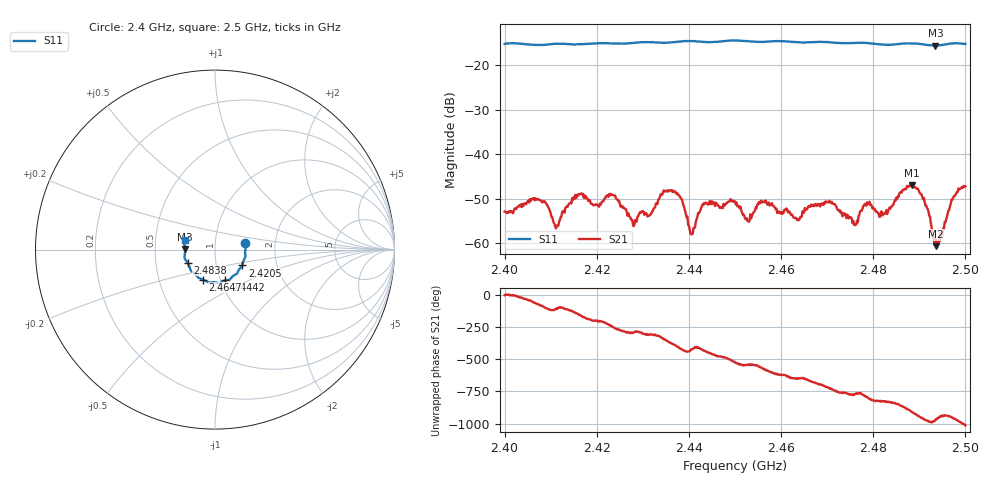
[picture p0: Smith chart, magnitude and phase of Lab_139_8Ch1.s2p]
# Hz S RI R 50
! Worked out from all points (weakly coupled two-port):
!   601 points, 2.4 GHz to 2.5 GHz, reference 50 ohm
!   highest |S21| = -46.90 dB at 2.4883 GHz (marker M1); lowest = -60.7 dB at 2.4937 GHz (marker M2)
!   lowest |S11| = -15.6 dB at 2.4935 GHz (marker M3), VSWR 1.40, Z = 35.8 + j0.127 ohm
!   |S11| at or under -10 dB: start of sweep to end of sweep
!   S12 and S22 are empty: the file has one direction only
!   S11 on the Smith chart (normalised r, x): 2.4 GHz: 1.40, +0.11; 2.4205 GHz: 1.33, -0.24; 2.4442 GHz: 1.05, -0.37; 2.4647 GHz: 0.83, -0.29; 2.4838 GHz: 0.73, -0.11; 2.5 GHz: 0.71, +0.08
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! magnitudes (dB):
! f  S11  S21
! 2.4 GHz  -15.2  -52.9
! 2.4072 GHz  -15.5  -50.0
! 2.4113 GHz  -15.2  -56.1
! 2.4167 GHz  -15.3  -48.8
! 2.4205 GHz  -15.1  -51.8
! 2.4235 GHz  -15.1  -49.2
! 2.4282 GHz  -15.0  -55.7
! 2.4333 GHz  -15.0  -50.2
! 2.4375 GHz  -14.7  -48.8
! 2.4407 GHz  -14.6  -58.0
! 2.4442 GHz  -14.8  -51.3
! 2.45 GHz  -14.5  -50.6
! 2.4527 GHz  -14.7  -54.9
! 2.4562 GHz  -14.8  -50.6
! 2.4647 GHz  -14.9  -52.8
! 2.4667 GHz  -14.9  -51.5
! 2.4833 GHz  -15.4  -52.5
! 2.4838 GHz  -15.4  -51.8
! 2.4883 GHz  -15.1  -46.9
! 2.4935 GHz  -15.6  -59.0
! 2.4937 GHz  -15.6  -60.7
! 2.5 GHz  -15.3  -47.2
